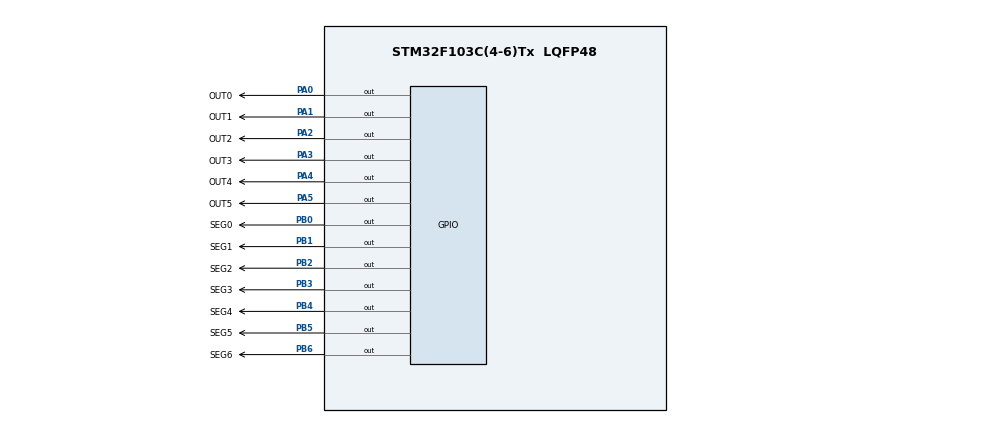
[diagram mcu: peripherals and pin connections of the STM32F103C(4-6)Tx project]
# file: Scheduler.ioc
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Mcu.Family=STM32F1
PD1-OSC_OUT.Mode=HSE-External-Oscillator
PB0.GPIO_Label=SEG0
PB6.GPIO_Label=SEG6
PD0-OSC_IN.Signal=RCC_OSC_IN
VP_SYS_VS_ND.Mode=No_Debug
ProjectManager.StackSize=0x400
PA0-WKUP.GPIO_Label=OUT0
PA0-WKUP.Signal=GPIO_Output
PD1-OSC_OUT.Signal=RCC_OSC_OUT
ProjectManager.TargetToolchain=STM32CubeIDE
PB6.Signal=GPIO_Output
PA1.Signal=GPIO_Output
PD0-OSC_IN.Mode=HSE-External-Oscillator
PA5.Signal=GPIO_Output
PB2.Signal=GPIO_Output
board=custom
RCC.APB2Freq_Value=8000000
PB4.GPIO_Label=SEG4
VP_TIM2_VS_ClockSourceINT.Mode=Internal
PB1.GPIO_Label=SEG1
NVIC.TIM2_IRQn=true\:0\:0\:false\:false\:true\:true\:true
PA1.GPIO_Label=OUT1
TIM2.Period=9
Mcu.Name=STM32F103C(4-6)Tx
PA2.Signal=GPIO_Output
PB3.Signal=GPIO_Output
PA4.Signal=GPIO_Output
Mcu.Package=LQFP48
PB5.Signal=GPIO_Output
TIM2.Prescaler=7999
PB1.Signal=GPIO_Output
PA5.GPIO_Label=OUT5
PA2.GPIO_Label=OUT2
PB2.GPIO_Label=SEG2
ProjectManager.HeapSize=0x200
NVIC.PriorityGroup=NVIC_PRIORITYGROUP_4
PB5.GPIO_Label=SEG5
RCC.APB1Freq_Value=8000000
PB0.Signal=GPIO_Output
PA4.GPIO_Label=OUT4
PB4.Signal=GPIO_Output
PA3.GPIO_Label=OUT3
PA3.Signal=GPIO_Output
PB3.GPIO_Label=SEG3

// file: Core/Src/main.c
/* USER CODE BEGIN Header */
/**
  ******************************************************************************
  * @file           : main.c
  * @brief          : Main program body
  ******************************************************************************
  * @attention
  *
  * <h2><center>&copy; Copyright (c) 2021 STMicroelectronics.
  * All rights reserved.</center></h2>
  *
  * This software component is licensed by ST under BSD 3-Clause license,
  * the "License"; You may not use this file except in compliance with the
  * License. You may obtain a copy of the License at:
  *                        opensource.org/licenses/BSD-3-Clause
  *
  ******************************************************************************
  */
/* USER CODE END Header */
#include "main.h"
#include "func.h"
/* USER CODE BEGIN Includes */

void display7SEG(int num) //display 7SEG-LED
{
	switch (num) {
		case 0:
			HAL_GPIO_WritePin(GPIOB, GPIO_PIN_0, GPIO_PIN_RESET);
			HAL_GPIO_WritePin(GPIOB, GPIO_PIN_1, GPIO_PIN_RESET);
			HAL_GPIO_WritePin(GPIOB, GPIO_PIN_2, GPIO_PIN_RESET);
			HAL_GPIO_WritePin(GPIOB, GPIO_PIN_3, GPIO_PIN_RESET);
			HAL_GPIO_WritePin(GPIOB, GPIO_PIN_4, GPIO_PIN_RESET);
			HAL_GPIO_WritePin(GPIOB, GPIO_PIN_5, GPIO_PIN_RESET);
			HAL_GPIO_WritePin(GPIOB, GPIO_PIN_6, GPIO_PIN_SET);
			break;
		case 1:
			HAL_GPIO_WritePin(GPIOB, GPIO_PIN_0, GPIO_PIN_SET);
				HAL_GPIO_WritePin(GPIOB, GPIO_PIN_1, GPIO_PIN_RESET);
				HAL_GPIO_WritePin(GPIOB, GPIO_PIN_2, GPIO_PIN_RESET);
				HAL_GPIO_WritePin(GPIOB, GPIO_PIN_3, GPIO_PIN_SET);
				HAL_GPIO_WritePin(GPIOB, GPIO_PIN_4, GPIO_PIN_SET);
				HAL_GPIO_WritePin(GPIOB, GPIO_PIN_5, GPIO_PIN_SET);
				HAL_GPIO_WritePin(GPIOB, GPIO_PIN_6, GPIO_PIN_SET);
			break;
		case 2:
			HAL_GPIO_WritePin(GPIOB, GPIO_PIN_0, GPIO_PIN_RESET);
				HAL_GPIO_WritePin(GPIOB, GPIO_PIN_1, GPIO_PIN_RESET);
				HAL_GPIO_WritePin(GPIOB, GPIO_PIN_2, GPIO_PIN_SET);
				HAL_GPIO_WritePin(GPIOB, GPIO_PIN_3, GPIO_PIN_RESET);
				HAL_GPIO_WritePin(GPIOB, GPIO_PIN_4, GPIO_PIN_RESET);
				HAL_GPIO_WritePin(GPIOB, GPIO_PIN_5, GPIO_PIN_SET);
				HAL_GPIO_WritePin(GPIOB, GPIO_PIN_6, GPIO_PIN_RESET);
			break;
		case 3:
			HAL_GPIO_WritePin(GPIOB, GPIO_PIN_0, GPIO_PIN_RESET);
				HAL_GPIO_WritePin(GPIOB, GPIO_PIN_1, GPIO_PIN_RESET);
				HAL_GPIO_WritePin(GPIOB, GPIO_PIN_2, GPIO_PIN_RESET);
				HAL_GPIO_WritePin(GPIOB, GPIO_PIN_3, GPIO_PIN_RESET);
				HAL_GPIO_WritePin(GPIOB, GPIO_PIN_4, GPIO_PIN_SET);
				HAL_GPIO_WritePin(GPIOB, GPIO_PIN_5, GPIO_PIN_SET);
				HAL_GPIO_WritePin(GPIOB, GPIO_PIN_6, GPIO_PIN_RESET);
			break;
		case 4:
			HAL_GPIO_WritePin(GPIOB, GPIO_PIN_0, GPIO_PIN_SET);
				HAL_GPIO_WritePin(GPIOB, GPIO_PIN_1, GPIO_PIN_RESET);
				HAL_GPIO_WritePin(GPIOB, GPIO_PIN_2, GPIO_PIN_RESET);
				HAL_GPIO_WritePin(GPIOB, GPIO_PIN_3, GPIO_PIN_SET);
				HAL_GPIO_WritePin(GPIOB, GPIO_PIN_4, GPIO_PIN_SET);
				HAL_GPIO_WritePin(GPIOB, GPIO_PIN_5, GPIO_PIN_RESET);
				HAL_GPIO_WritePin(GPIOB, GPIO_PIN_6, GPIO_PIN_RESET);
			break;
		case 5:
			HAL_GPIO_WritePin(GPIOB, GPIO_PIN_0, GPIO_PIN_RESET);
				HAL_GPIO_WritePin(GPIOB, GPIO_PIN_1, GPIO_PIN_SET);
				HAL_GPIO_WritePin(GPIOB, GPIO_PIN_2, GPIO_PIN_RESET);
				HAL_GPIO_WritePin(GPIOB, GPIO_PIN_3, GPIO_PIN_RESET);
				HAL_GPIO_WritePin(GPIOB, GPIO_PIN_4, GPIO_PIN_SET);
				HAL_GPIO_WritePin(GPIOB, GPIO_PIN_5, GPIO_PIN_RESET);
				HAL_GPIO_WritePin(GPIOB, GPIO_PIN_6, GPIO_PIN_RESET);
			break;
		case 6:
			HAL_GPIO_WritePin(GPIOB, GPIO_PIN_0, GPIO_PIN_RESET);
				HAL_GPIO_WritePin(GPIOB, GPIO_PIN_1, GPIO_PIN_SET);
				HAL_GPIO_WritePin(GPIOB, GPIO_PIN_2, GPIO_PIN_RESET);
				HAL_GPIO_WritePin(GPIOB, GPIO_PIN_3, GPIO_PIN_RESET);
				HAL_GPIO_WritePin(GPIOB, GPIO_PIN_4, GPIO_PIN_RESET);
				HAL_GPIO_WritePin(GPIOB, GPIO_PIN_5, GPIO_PIN_RESET);
				HAL_GPIO_WritePin(GPIOB, GPIO_PIN_6, GPIO_PIN_RESET);
			break;
		case 7:
			HAL_GPIO_WritePin(GPIOB, GPIO_PIN_0, GPIO_PIN_RESET);
				HAL_GPIO_WritePin(GPIOB, GPIO_PIN_1, GPIO_PIN_RESET);
				HAL_GPIO_WritePin(GPIOB, GPIO_PIN_2, GPIO_PIN_RESET);
				HAL_GPIO_WritePin(GPIOB, GPIO_PIN_3, GPIO_PIN_SET);
				HAL_GPIO_WritePin(GPIOB, GPIO_PIN_4, GPIO_PIN_SET);
				HAL_GPIO_WritePin(GPIOB, GPIO_PIN_5, GPIO_PIN_SET);
				HAL_GPIO_WritePin(GPIOB, GPIO_PIN_6, GPIO_PIN_SET);
			break;
		case 8:
			HAL_GPIO_WritePin(GPIOB, GPIO_PIN_0, GPIO_PIN_RESET);
			HAL_GPIO_WritePin(GPIOB, GPIO_PIN_1, GPIO_PIN_RESET);
			HAL_GPIO_WritePin(GPIOB, GPIO_PIN_2, GPIO_PIN_RESET);
			HAL_GPIO_WritePin(GPIOB, GPIO_PIN_3, GPIO_PIN_RESET);
			HAL_GPIO_WritePin(GPIOB, GPIO_PIN_4, GPIO_PIN_RESET);
			HAL_GPIO_WritePin(GPIOB, GPIO_PIN_5, GPIO_PIN_RESET);
			HAL_GPIO_WritePin(GPIOB, GPIO_PIN_6, GPIO_PIN_RESET);

			break;
		case 9:
			HAL_GPIO_WritePin(GPIOB, GPIO_PIN_0, GPIO_PIN_RESET);
			HAL_GPIO_WritePin(GPIOB, GPIO_PIN_1, GPIO_PIN_RESET);
			HAL_GPIO_WritePin(GPIOB, GPIO_PIN_2, GPIO_PIN_RESET);
			HAL_GPIO_WritePin(GPIOB, GPIO_PIN_3, GPIO_PIN_RESET);
			HAL_GPIO_WritePin(GPIOB, GPIO_PIN_4, GPIO_PIN_SET);
			HAL_GPIO_WritePin(GPIOB, GPIO_PIN_5, GPIO_PIN_RESET);
			HAL_GPIO_WritePin(GPIOB, GPIO_PIN_6, GPIO_PIN_RESET);
			break;
		default:
			HAL_GPIO_WritePin(GPIOB, GPIO_PIN_3, GPIO_PIN_SET);
			break;
		}
}
/* USER CODE END Includes */

/* USER CODE BEGIN PTD */
typedef struct {
	void (*pTask) (void);
	uint32_t Delay;
	uint32_t Period;
	int TaskID;
	uint16_t Timeline;
	int Run;
} sTask ;

#define SCH_MAX_TASKS 10
#define NO_TASK_ID 0
sTask SCH_tasks_G[SCH_MAX_TASKS];
int size = 0;
void SCH_Report_Status ( void ) {
	/*#ifdef SCH_REPORT_ERRORS
	// ONLY APPLIES IF WE ARE REPORTING ERRORS
	// Check for a new error code
	if( Error_code_G != Last_error_code_G ) {
		// Negative logic on LEDs assumed
		Error_port = 255 − Error_code_G ;
		Last_error_code_G = Error_code_G ;
		if( Error_code_G != 0) {
			Error_tick_count_G = 60000;
		} else {
			Error_tick_count_G = 0 ;
		}
	} else {
		if( Error_tick_count_G != 0) {
			if(--Error_tick_count_G == 0) {
				Error_code_G = 0 ; // Reset error code
			}
		}
	}
#endif*/
}
unsigned char SCH_Delete_Task( const unsigned char TASK_INDEX) {
	unsigned char Return_code ;
	if( SCH_tasks_G[TASK_INDEX].pTask == 0) {
		//Error_code_G = ERROR_SCH_CANNOT_DELETE_TASK;
		Return_code = 1; //RETURN_ERROR
	} else {
		Return_code = 0; //RETURN_NORMAL
	}
	SCH_tasks_G[TASK_INDEX].pTask = 0x0000;
	SCH_tasks_G[TASK_INDEX].Delay = 0;
	SCH_tasks_G[TASK_INDEX].Period = 0;
	SCH_tasks_G[TASK_INDEX].Timeline = 0;
	SCH_tasks_G[TASK_INDEX].Run = 0;
	SCH_tasks_G[TASK_INDEX].TaskID = 0;
	return Return_code ; // return status
}
void SCH_Init ( void ) {
	unsigned char i;
	for ( i = 0; i < SCH_MAX_TASKS; i++) {
		SCH_Delete_Task(i);
	}
	// Reset the global error variable
	// − SCH_Delete_Task () w ill generate an error code ,
	// ( because the task array is empty)
	//Error_code_G = 0;
	//Timer_init();
	//Watchdog_init();
}

int timeline = 0;
void SCH_Update(void) {
	/*
	 * This function only updates timeline by increasing 1
	 * Note: timeline is from 0 to 9999
	 */
	timeline = (timeline+1)%10000;
}

unsigned char SCH_Add_Task( void (* pFunction)() , unsigned int DELAY, unsigned int PERIOD){
	unsigned char Index = 0;
	// First find a gap in the array ( if there is one)
	while (( SCH_tasks_G[Index].pTask != 0) && (Index < SCH_MAX_TASKS))
	{
		Index++;
	}
	// Have we reached the end of the l i s t ?
	if ( Index == SCH_MAX_TASKS){
		// Task list is full
		// Set the global error variable
		//Error_code_G = ERROR_SCH_TOO_MANY_TASKS;
		// Also return an error code
		return SCH_MAX_TASKS;
	}
	// If we ’ re here , there is a space in the task array

	SCH_tasks_G[Index].pTask = pFunction;
	SCH_tasks_G[Index].Delay = DELAY;
	SCH_tasks_G[Index].Period = PERIOD;
	// Two new attributes
	SCH_tasks_G[Index].Run = 0;
	SCH_tasks_G[Index].Timeline = timeline + DELAY;

	SCH_tasks_G[Index].TaskID = Index;
	// return position of task ( to allow later deletion )
	return Index;
}
void SCH_Go_To_Sleep(void)
{
	//HAL_PWR_EnterSLEEPMode(PWR_LOWPOWERREGULATOR_ON, PWR_SLEEPENTRY_WFI);
}

int runing = 0;
void SCH_Dispatch_Tasks(void)
{
	unsigned char Index;
	for(Index = 0; Index < SCH_MAX_TASKS; Index++) {
		if((SCH_tasks_G[Index].Timeline == timeline) && (SCH_tasks_G[Index].pTask != 0)) {
			SCH_tasks_G[Index].Run = 1;
			runing++;
			SCH_tasks_G[Index].Timeline = (SCH_tasks_G[Index].Timeline+SCH_tasks_G[Index].Period)%10000;
		}
		else
		{
			SCH_tasks_G[Index].Run = 0;
		}
	}
	for(Index = 0; Index < SCH_MAX_TASKS; Index++) {
		if(SCH_tasks_G[Index].Run == 1) {
			(*SCH_tasks_G[Index].pTask)();
			SCH_tasks_G[Index].Run = 0;
		}
		display7SEG(runing);
		if ( SCH_tasks_G[Index].Period == 0)
		{
			SCH_Delete_Task(Index);
		}

	}
	// Report system status
	//SCH_Report_Status();
	// The scheduler enters idle mode at this point
	//SCH_Go_To_Sleep();
}

/* USER CODE END PTD */

TIM_HandleTypeDef htim2;

void SystemClock_Config(void);
static void MX_GPIO_Init(void);
static void MX_TIM2_Init(void);

int main(void)
{

  /* MCU Configuration--------------------------------------------------------*/

  /* Reset of all peripherals, Initializes the Flash interface and the Systick. */
  HAL_Init();

  /* Configure the system clock */
  SystemClock_Config();

  /* Initialize all configured peripherals */
  MX_GPIO_Init();
  MX_TIM2_Init();
  HAL_TIM_Base_Start_IT(&htim2);
  //Turn off all Leds
	HAL_GPIO_WritePin(GPIOA, GPIO_PIN_0, 1);
	HAL_GPIO_WritePin(GPIOA, GPIO_PIN_1, 1);
	HAL_GPIO_WritePin(GPIOA, GPIO_PIN_2, 1);
	HAL_GPIO_WritePin(GPIOA, GPIO_PIN_3, 1);
	HAL_GPIO_WritePin(GPIOA, GPIO_PIN_4, 1);
	HAL_GPIO_WritePin(GPIOA, GPIO_PIN_5, 1);
	//Setup Scheduler
	SCH_Init();
	//Add functions to Scheduler
	SCH_Add_Task(pFn1, 0, 1000);
	SCH_Add_Task(pFn2, 200, 1000);
	SCH_Add_Task(pFn3, 400, 1000);
	SCH_Add_Task(pFn4, 600, 1000);
	SCH_Add_Task(pFn5, 800, 1000);

  /* Infinite loop */
  while (1)
  {
	  SCH_Dispatch_Tasks();
  }
}

void SystemClock_Config(void)
{
  RCC_OscInitTypeDef RCC_OscInitStruct = {0};
  RCC_ClkInitTypeDef RCC_ClkInitStruct = {0};

  /** Initializes the RCC Oscillators according to the specified parameters
  * in the RCC_OscInitTypeDef structure.
  */
  RCC_OscInitStruct.OscillatorType = RCC_OSCILLATORTYPE_HSI;
  RCC_OscInitStruct.HSIState = RCC_HSI_ON;
  RCC_OscInitStruct.HSICalibrationValue = RCC_HSICALIBRATION_DEFAULT;
  RCC_OscInitStruct.PLL.PLLState = RCC_PLL_NONE;
  if (HAL_RCC_OscConfig(&RCC_OscInitStruct) != HAL_OK)
  {
    Error_Handler();
  }
  /** Initializes the CPU, AHB and APB buses clocks
  */
  RCC_ClkInitStruct.ClockType = RCC_CLOCKTYPE_HCLK|RCC_CLOCKTYPE_SYSCLK
                              |RCC_CLOCKTYPE_PCLK1|RCC_CLOCKTYPE_PCLK2;
  RCC_ClkInitStruct.SYSCLKSource = RCC_SYSCLKSOURCE_HSI;
  RCC_ClkInitStruct.AHBCLKDivider = RCC_SYSCLK_DIV1;
  RCC_ClkInitStruct.APB1CLKDivider = RCC_HCLK_DIV1;
  RCC_ClkInitStruct.APB2CLKDivider = RCC_HCLK_DIV1;

  if (HAL_RCC_ClockConfig(&RCC_ClkInitStruct, FLASH_LATENCY_0) != HAL_OK)
  {
    Error_Handler();
  }
}

static void MX_TIM2_Init(void)
{

  TIM_ClockConfigTypeDef sClockSourceConfig = {0};
  TIM_MasterConfigTypeDef sMasterConfig = {0};

  htim2.Instance = TIM2;
  htim2.Init.Prescaler = 7999;
  htim2.Init.CounterMode = TIM_COUNTERMODE_UP;
  htim2.Init.Period = 9;
  htim2.Init.ClockDivision = TIM_CLOCKDIVISION_DIV1;
  htim2.Init.AutoReloadPreload = TIM_AUTORELOAD_PRELOAD_DISABLE;
  if (HAL_TIM_Base_Init(&htim2) != HAL_OK)
  {
    Error_Handler();
  }
  sClockSourceConfig.ClockSource = TIM_CLOCKSOURCE_INTERNAL;
  if (HAL_TIM_ConfigClockSource(&htim2, &sClockSourceConfig) != HAL_OK)
  {
    Error_Handler();
  }
  sMasterConfig.MasterOutputTrigger = TIM_TRGO_RESET;
  sMasterConfig.MasterSlaveMode = TIM_MASTERSLAVEMODE_DISABLE;
  if (HAL_TIMEx_MasterConfigSynchronization(&htim2, &sMasterConfig) != HAL_OK)
  {
    Error_Handler();
  }

}

static void MX_GPIO_Init(void)
{
  GPIO_InitTypeDef GPIO_InitStruct = {0};

  /* GPIO Ports Clock Enable */
  __HAL_RCC_GPIOD_CLK_ENABLE();
  __HAL_RCC_GPIOA_CLK_ENABLE();
  __HAL_RCC_GPIOB_CLK_ENABLE();

  /*Configure GPIO pin Output Level */
  HAL_GPIO_WritePin(GPIOA, OUT0_Pin|OUT1_Pin|OUT2_Pin|OUT3_Pin
                          |OUT4_Pin|OUT5_Pin, GPIO_PIN_RESET);

  /*Configure GPIO pin Output Level */
  HAL_GPIO_WritePin(GPIOB, SEG0_Pin|SEG1_Pin|SEG2_Pin|SEG3_Pin
                          |SEG4_Pin|SEG5_Pin|SEG6_Pin, GPIO_PIN_RESET);

  /*Configure GPIO pins : OUT0_Pin OUT1_Pin OUT2_Pin OUT3_Pin
                           OUT4_Pin OUT5_Pin */
  GPIO_InitStruct.Pin = OUT0_Pin|OUT1_Pin|OUT2_Pin|OUT3_Pin
                          |OUT4_Pin|OUT5_Pin;
  GPIO_InitStruct.Mode = GPIO_MODE_OUTPUT_PP;
  GPIO_InitStruct.Pull = GPIO_NOPULL;
  GPIO_InitStruct.Speed = GPIO_SPEED_FREQ_LOW;
  HAL_GPIO_Init(GPIOA, &GPIO_InitStruct);

  /*Configure GPIO pins : SEG0_Pin SEG1_Pin SEG2_Pin SEG3_Pin
                           SEG4_Pin SEG5_Pin SEG6_Pin */
  GPIO_InitStruct.Pin = SEG0_Pin|SEG1_Pin|SEG2_Pin|SEG3_Pin
                          |SEG4_Pin|SEG5_Pin|SEG6_Pin;
  GPIO_InitStruct.Mode = GPIO_MODE_OUTPUT_PP;
  GPIO_InitStruct.Pull = GPIO_NOPULL;
  GPIO_InitStruct.Speed = GPIO_SPEED_FREQ_LOW;
  HAL_GPIO_Init(GPIOB, &GPIO_InitStruct);

}

/* USER CODE BEGIN 4 */
void HAL_TIM_PeriodElapsedCallback(TIM_HandleTypeDef *htim) {
	if(htim->Instance == htim2.Instance)
	{
		SCH_Update();
	}
}
/* USER CODE END 4 */

void Error_Handler(void)
{
  __disable_irq();
  while (1)
  {
  }
}

/************************ (C) COPYRIGHT STMicroelectronics *****END OF FILE****/
